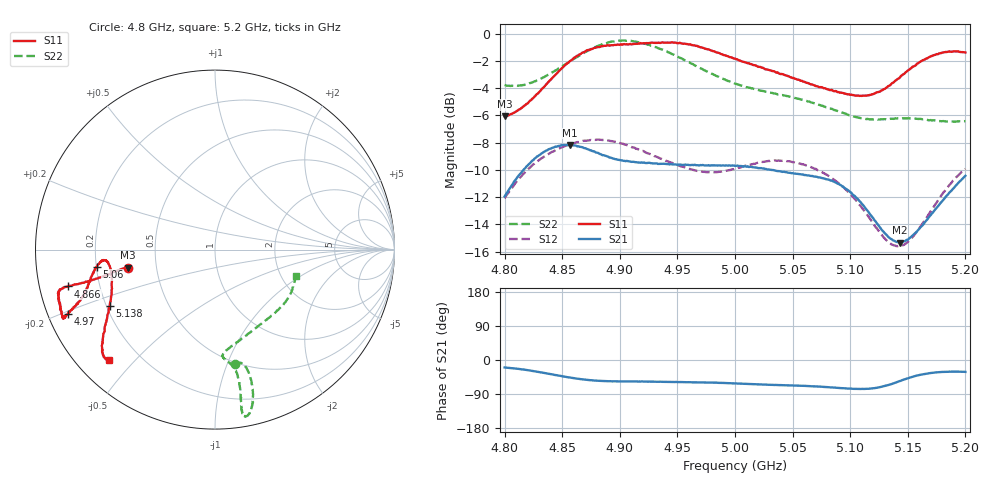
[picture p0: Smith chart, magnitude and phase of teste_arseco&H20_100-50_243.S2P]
! Network Analyzer HP8722D
! Hewlett-Packard
! Data name: Linha & Wilkinson
! Saver's name: Rodrigo Anjos
! Comments: Teste da utilização de aquisição
! continua pelo VNA HP8722D
! Time and date: 6/5/2025 14:35
!  Frequency  S11  S21  S12  S22
# HZ  S  MA R 50
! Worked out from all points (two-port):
!   401 points, 4.8 GHz to 5.2 GHz, reference 50 ohm
!   highest |S21| = -8.17 dB at 4.857 GHz (marker M1); lowest = -15.3 dB at 5.143 GHz (marker M2)
!   |S21| within 3 dB of the highest: 4.806 GHz to 5.093 GHz (286.6 MHz wide, 5.79 % of centre); 5.191643 GHz to end of sweep
!   lowest |S11| = -6.1 dB at 4.8 GHz (marker M3), VSWR 2.98, Z = 16.9 - j4.55 ohm
!   |S11| at or under -10 dB: nowhere
!   |S22| runs from -6.5 to -0.5 dB; largest |S21 - S12| = 0.62
!   S11 on the Smith chart (normalised r, x): 4.8 GHz: 0.34, -0.09; 4.866 GHz: 0.09, -0.12; 4.97 GHz: 0.06, -0.21; 5.06 GHz: 0.20, -0.07; 5.138 GHz: 0.21, -0.24; 5.2 GHz: 0.09, -0.42
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4.8e9  0.4974 -168.3  0.2525 -19.7  0.2485 -140.9  0.6484 -80.3
4.828e9  0.6006 -167.1  0.3537 -30.8  0.3384 -144.9  0.6746 -75.4
4.857e9  0.7954 -166.0  0.3906 -46.4  0.3922 -150.4  0.7923 -74.8
4.866e9  0.843 -165.9  0.3842 -50.5  0.4021 -152.0  0.8373 -75.3
4.867e9  0.8498 -165.8  0.3833 -50.9  0.4028 -152.1  0.8427 -75.4
4.88e9  0.8926 -165.6  0.3658 -54.6  0.4083 -154.2  0.899 -76.9
4.899e9  0.9119 -162.9  0.3442 -56.5  0.3974 -156.7  0.9434 -79.1
4.914e9  0.9199 -159.7  0.3375 -56.5  0.378 -157.1  0.9361 -80.3
4.934e9  0.9279 -156.5  0.3327 -57.5  0.3504 -155.8  0.8823 -80.5
4.97e9  0.8922 -156.4  0.3294 -59.2  0.3124 -147.1  0.7474 -79.6
5e9  0.8106 -159.1  0.3272 -61.8  0.3195 -137.3  0.6562 -81.3
5.035e9  0.7238 -165.3  0.3143 -65.8  0.3424 -134.4  0.6035 -85.7
5.06e9  0.667 -171.7  0.3028 -68.2  0.3302 -136.1  0.5699 -84.3
5.067e9  0.6514 -173.1  0.3004 -69.3  0.3224 -136.8  0.5583 -82.5
5.099e9  0.5998 -172.7  0.2645 -75.6  0.2603 -138.9  0.5026 -67.9
5.116e9  0.5943 -165.5  0.2212 -75.9  0.2121 -135.6  0.4855 -55.7
5.134e9  0.6449 -154.2  0.178 -65.2  0.1708 -120.6  0.4866 -43.3
5.138e9  0.6649 -152.0  0.1737 -61.1  0.167 -115.6  0.4868 -40.8
5.143e9  0.69 -149.3  0.171 -55.7  0.1659 -108.9  0.4886 -38.0
5.154e9  0.7561 -144.4  0.1812 -44.3  0.179 -94.9  0.4882 -32.3
5.173e9  0.8356 -138.9  0.224 -33.4  0.2332 -80.9  0.481 -24.2
5.2e9  0.8533 -133.7  0.3007 -31.5  0.319 -77.0  0.4766 -17.7
